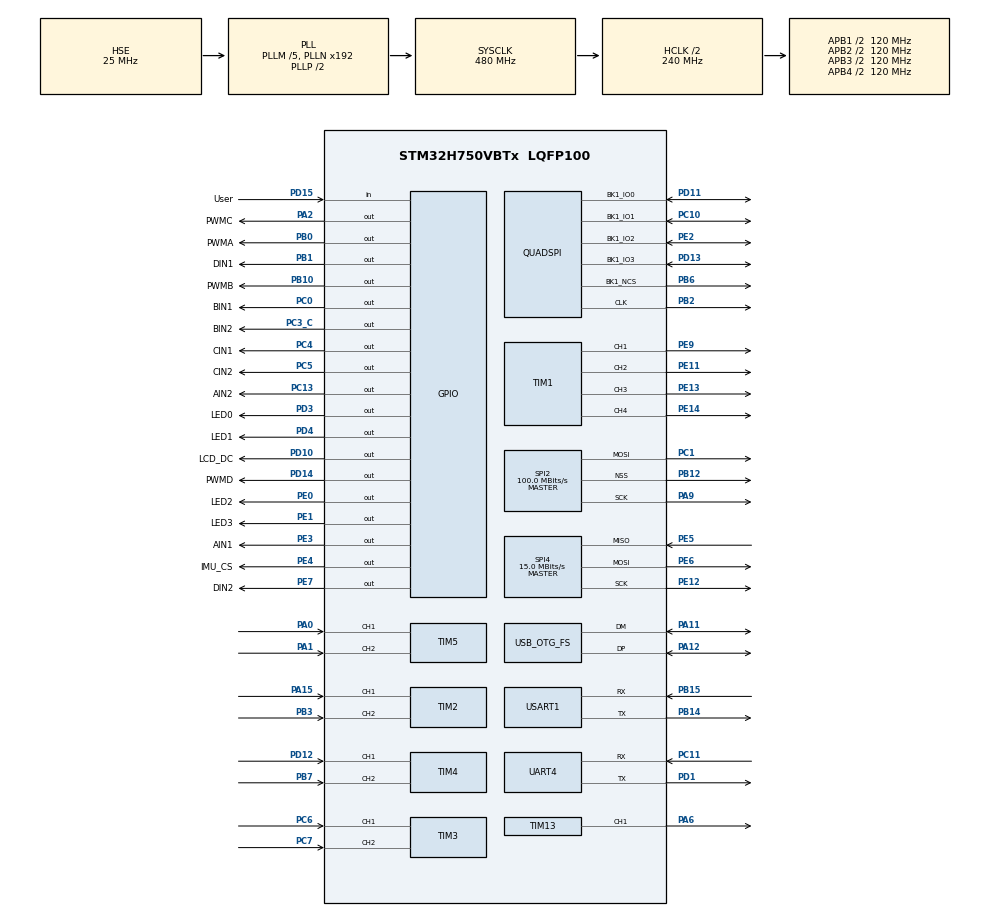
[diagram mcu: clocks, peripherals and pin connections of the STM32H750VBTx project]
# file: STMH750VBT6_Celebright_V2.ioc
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CORTEX_M7.default_mode_Activation=1
FREERTOS.BinarySemaphores01=semphr_buzzer_trigger,Dynamic,NULL,Available
FREERTOS.CountingSemaphores01=semphr_uart_receive,16,Dynamic,NULL,0
FREERTOS.INCLUDE_vTaskCleanUpResources=1
FREERTOS.Queues01=queue_key,1,char,0,Dynamic,NULL,NULL
FREERTOS.Tasks01=LEDBlink,32,128,Task_LEDBlink,Default,NULL,Static,LEDBlinkBuffer,LEDBlinkControlBlock;AppTaskCreate,25,128,Task_AppTaskCreate,Default,NULL,Static,AppTaskCreateBuffer,AppTaskCreateControlBlock;UartHandle,31,128,Task_UartHandle,Default,NULL,Static,UartHandleBuffer,UartHandleControlBlock;_9axisService,27,128,Task_9axisService,Default,NULL,Static,_9axisServiceBuffer,_9axisServiceControlBlock;CarAttitude,29,128,Task_CarAttitude,Default,NULL,Static,CarAttitudeBuffer,CarAttitudeControlBlock;Key,30,128,Task_Key,Default,NULL,Static,KeyBuffer,KeyControlBlock;Buzzer,25,128,Task_Buzzer,Default,NULL,Static,BuzzerBuffer,BuzzerControlBlock;Screen_LCD,25,128,Task_Screen,Default,NULL,Static,Screen_LCDBuffer,Screen_LCDControlBlock
FREERTOS.configMAX_TASK_NAME_LEN=32
FREERTOS.configQUEUE_REGISTRY_SIZE=10
FREERTOS.configTIMER_TASK_PRIORITY=55
FREERTOS.configTOTAL_HEAP_SIZE=81920
Mcu.Family=STM32H7
Mcu.Name=STM32H750VBTx
Mcu.Package=LQFP100
NVIC.PriorityGroup=NVIC_PRIORITYGROUP_4
NVIC.TIM6_DAC_IRQn=true\:5\:0\:false\:false\:true\:true\:true\:true\:true
PA0.Signal=S_TIM5_CH1
PA1.Signal=S_TIM5_CH2
PA11.Mode=Device_Only
PA11.Signal=USB_OTG_FS_DM
PA12.Mode=Device_Only
PA12.Signal=USB_OTG_FS_DP
PA13\ (JTMS/SWDIO).Mode=Serial_Wire
PA13\ (JTMS/SWDIO).Signal=DEBUG_JTMS-SWDIO
PA14\ (JTCK/SWCLK).Mode=Serial_Wire
PA14\ (JTCK/SWCLK).Signal=DEBUG_JTCK-SWCLK
PA15\ (JTDI).Signal=S_TIM2_CH1_ETR
PA2.GPIO_Label=PWMC
PA2.GPIO_Speed=GPIO_SPEED_FREQ_VERY_HIGH
PA2.Signal=GPIO_Output
PA6.Signal=S_TIM13_CH1
PA9.Mode=TX_Only_Simplex_Unidirect_Master
PA9.Signal=SPI2_SCK
PB0.GPIO_Label=PWMA
PB0.GPIO_Speed=GPIO_SPEED_FREQ_VERY_HIGH
PB0.Signal=GPIO_Output
PB1.GPIO_Label=DIN1
PB1.GPIO_Speed=GPIO_SPEED_FREQ_HIGH
PB1.Signal=GPIO_Output
PB10.GPIO_Label=PWMB
PB10.GPIO_Speed=GPIO_SPEED_FREQ_VERY_HIGH
PB10.Signal=GPIO_Output
PB12.Mode=NSS_Signal_Hard_Output
PB12.Signal=SPI2_NSS
PB14.Mode=Asynchronous
PB14.Signal=USART1_TX
PB15.Mode=Asynchronous
PB15.Signal=USART1_RX
PB2.Mode=Single Bank 1
PB2.Signal=QUADSPI_CLK
PB3\ (JTDO/TRACESWO).Signal=S_TIM2_CH2
PB6.Mode=Single Bank 1
PB6.Signal=QUADSPI_BK1_NCS
PB7.Signal=S_TIM4_CH2
PC0.GPIO_Label=BIN1
PC0.GPIO_Speed=GPIO_SPEED_FREQ_HIGH
PC0.Signal=GPIO_Output
PC1.Mode=TX_Only_Simplex_Unidirect_Master
PC1.Signal=SPI2_MOSI
PC10.Mode=Single Bank 1
PC10.Signal=QUADSPI_BK1_IO1
PC11.Mode=Asynchronous
PC11.Signal=UART4_RX
PC13.GPIO_Label=AIN2
PC13.Signal=GPIO_Output
PC14-OSC32_IN\ (OSC32_IN).Mode=LSE-External-Oscillator
PC14-OSC32_IN\ (OSC32_IN).Signal=RCC_OSC32_IN
PC15-OSC32_OUT\ (OSC32_OUT).Mode=LSE-External-Oscillator
PC15-OSC32_OUT\ (OSC32_OUT).Signal=RCC_OSC32_OUT
PC3_C.GPIO_Label=BIN2
PC3_C.GPIO_Speed=GPIO_SPEED_FREQ_HIGH
PC3_C.Signal=GPIO_Output
PC4.GPIO_Label=CIN1
PC4.GPIO_Speed=GPIO_SPEED_FREQ_HIGH
PC4.Signal=GPIO_Output
PC5.GPIO_Label=CIN2
PC5.GPIO_Speed=GPIO_SPEED_FREQ_HIGH
PC5.Signal=GPIO_Output
PC6.Signal=S_TIM3_CH1
PC7.Signal=S_TIM3_CH2
PD1.Mode=Asynchronous
PD1.Signal=UART4_TX
PD10.GPIO_Label=LCD_DC
PD10.GPIO_Speed=GPIO_SPEED_FREQ_HIGH
PD10.Signal=GPIO_Output
PD11.Mode=Single Bank 1
PD11.Signal=QUADSPI_BK1_IO0
PD12.Signal=S_TIM4_CH1
PD13.Mode=Single Bank 1
PD13.Signal=QUADSPI_BK1_IO3
PD14.GPIO_Label=PWMD
PD14.GPIO_Speed=GPIO_SPEED_FREQ_VERY_HIGH
PD14.Signal=GPIO_Output
PD15.GPIO_Label=User
PD15.GPIO_PuPd=GPIO_PULLUP
PD15.Signal=GPIO_Input
PD3.GPIO_Label=LED0
PD3.GPIO_Speed=GPIO_SPEED_FREQ_LOW
PD3.Signal=GPIO_Output
PD4.GPIO_Label=LED1
PD4.Signal=GPIO_Output
PE0.GPIO_Label=LED2
PE0.Signal=GPIO_Output
PE1.GPIO_Label=LED3
PE1.Signal=GPIO_Output
PE11.Signal=S_TIM1_CH2
PE12.Mode=Full_Duplex_Master
PE12.Signal=SPI4_SCK
PE13.Signal=S_TIM1_CH3
PE14.Signal=S_TIM1_CH4
PE2.Mode=Single Bank 1
PE2.Signal=QUADSPI_BK1_IO2
PE3.GPIO_Label=AIN1
PE3.GPIO_Speed=GPIO_SPEED_FREQ_HIGH
PE3.Signal=GPIO_Output
PE4.GPIO_Label=IMU_CS
PE4.GPIO_Speed=GPIO_SPEED_FREQ_VERY_HIGH
PE4.Signal=GPIO_Output
PE5.Mode=Full_Duplex_Master
PE5.Signal=SPI4_MISO
PE6.Mode=Full_Duplex_Master
PE6.Signal=SPI4_MOSI
PE7.GPIO_Label=DIN2
PE7.GPIO_Speed=GPIO_SPEED_FREQ_HIGH
PE7.Signal=GPIO_Output
PE9.Signal=S_TIM1_CH1
PH0-OSC_IN\ (PH0).Mode=HSE-External-Oscillator
PH0-OSC_IN\ (PH0).Signal=RCC_OSC_IN
PH1-OSC_OUT\ (PH1).Mode=HSE-External-Oscillator
PH1-OSC_OUT\ (PH1).Signal=RCC_OSC_OUT
ProjectManager.HeapSize=0x200
ProjectManager.StackSize=0x800
ProjectManager.TargetToolchain=MDK-ARM V5.32
RCC.ADCFreq_Value=200000000
RCC.APB1Freq_Value=120000000
RCC.APB2Freq_Value=120000000
RCC.APB3Freq_Value=120000000
RCC.APB4Freq_Value=120000000
RCC.CortexFreq_Value=480000000
RCC.D1PPRE=RCC_APB3_DIV2
RCC.D2PPRE1=RCC_APB1_DIV2
RCC.D2PPRE2=RCC_APB2_DIV2
RCC.D3PPRE=RCC_APB4_DIV2
RCC.DIVM1=5
RCC.DIVM2=5
RCC.DIVN1=192
RCC.DIVN2=80
RCC.DIVN3=80
RCC.EnbaleCSS=true
RCC.HCLKFreq_Value=240000000
RCC.HPRE=RCC_HCLK_DIV2
RCC.PLLSourceVirtual=RCC_PLLSOURCE_HSE
RCC.SPI123CLockSelection=RCC_SPI123CLKSOURCE_PLL2
RCC.SYSCLKFreq_VALUE=480000000
RCC.SYSCLKSource=RCC_SYSCLKSOURCE_PLLCLK
RCC.USBCLockSelection=RCC_USBCLKSOURCE_HSI48
RCC.USBFreq_Value=48000000
SH.S_TIM13_CH1.0=TIM13_CH1,PWM Generation1 CH1
SH.S_TIM1_CH1.0=TIM1_CH1,PWM Generation1 CH1
SH.S_TIM1_CH2.0=TIM1_CH2,PWM Generation2 CH2
SH.S_TIM1_CH3.0=TIM1_CH3,PWM Generation3 CH3
SH.S_TIM1_CH4.0=TIM1_CH4,PWM Generation4 CH4
SH.S_TIM2_CH1_ETR.0=TIM2_CH1,Encoder_Interface
SH.S_TIM2_CH2.0=TIM2_CH2,Encoder_Interface
SH.S_TIM3_CH1.0=TIM3_CH1,Encoder_Interface
SH.S_TIM3_CH2.0=TIM3_CH2,Encoder_Interface
SH.S_TIM4_CH1.0=TIM4_CH1,Encoder_Interface
SH.S_TIM4_CH2.0=TIM4_CH2,Encoder_Interface
SH.S_TIM5_CH1.0=TIM5_CH1,Encoder_Interface
SH.S_TIM5_CH2.0=TIM5_CH2,Encoder_Interface
SPI2.CalculateBaudRate=100.0 MBits/s
SPI2.Direction=SPI_DIRECTION_2LINES_TXONLY
SPI2.Mode=SPI_MODE_MASTER
SPI2.VirtualNSS=VM_NSSHARD
SPI2.VirtualType=VM_MASTER
SPI4.BaudRatePrescaler=SPI_BAUDRATEPRESCALER_8
SPI4.CLKPhase=SPI_PHASE_2EDGE
SPI4.CLKPolarity=SPI_POLARITY_HIGH
SPI4.CalculateBaudRate=15.0 MBits/s
SPI4.DataSize=SPI_DATASIZE_8BIT
SPI4.Direction=SPI_DIRECTION_2LINES
SPI4.Mode=SPI_MODE_MASTER
SPI4.VirtualType=VM_MASTER
TIM1.Channel-PWM\ Generation1\ CH1=TIM_CHANNEL_1
TIM1.Channel-PWM\ Generation2\ CH2=TIM_CHANNEL_2
TIM1.Channel-PWM\ Generation3\ CH3=TIM_CHANNEL_3
TIM1.Channel-PWM\ Generation4\ CH4=TIM_CHANNEL_4
TIM13.Channel=TIM_CHANNEL_1
TIM6.Period=9
TIM6.Prescaler=239
USART1.VirtualMode-Asynchronous=VM_ASYNC
USB_OTG_FS.VirtualMode=Device_Only
VP_FREERTOS_VS_CMSIS_V2.Mode=CMSIS_V2
VP_MEMORYMAP_VS_MEMORYMAP.Mode=CurAppReg
VP_TIM13_VS_ClockSourceINT.Mode=Enable_Timer
VP_TIM6_VS_ClockSourceINT.Mode=Enable_Timer
board=custom

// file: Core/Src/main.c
/* USER CODE BEGIN Header */
/**
  ******************************************************************************
  * @file           : main.c
  * @brief          : Main program body
  ******************************************************************************
  * @attention
  *
  * Copyright (c) 2025 STMicroelectronics.
  * All rights reserved.
  *
  * This software is licensed under terms that can be found in the LICENSE file
  * in the root directory of this software component.
  * If no LICENSE file comes with this software, it is provided AS-IS.
  *
  ******************************************************************************
  */
/* USER CODE END Header */
#include "main.h"
#include "cmsis_os.h"
#include "memorymap.h"
#include "quadspi.h"
#include "spi.h"
#include "tim.h"
#include "usart.h"
#include "usb_otg.h"
#include "gpio.h"

/* USER CODE BEGIN Includes */
#include "Motor.h"
#include "lcd_model.h"
#include "uart_fifo.h"
#include "delay.h"
#include "IMU.h"
#include "car_control.h"
#include "car_attitude.h"
/* USER CODE END Includes */

/* USER CODE BEGIN PD */
#define CPU_FREQ 480	//Unit:MHz;
#define To_cm 2.54/102
/* USER CODE END PD */

/* USER CODE BEGIN PV */
uint8_t cnt = 0;
uint32_t nowtime = 0;
float motion6[7];
float ypr[3];          // �ϴ�yaw pitch roll��ֵ
int math_pl=0;
/* USER CODE END PV */

void SystemClock_Config(void);
static void MPU_Config(void);
void MX_FREERTOS_Init(void);

int main(void)
{

  /* MPU Configuration--------------------------------------------------------*/
  MPU_Config();

  /* MCU Configuration--------------------------------------------------------*/

  /* Reset of all peripherals, Initializes the Flash interface and the Systick. */
  HAL_Init();

  /* USER CODE BEGIN Init */
	init_motor();
  /* USER CODE END Init */

  /* Configure the system clock */
  SystemClock_Config();

  /* Initialize all configured peripherals */
  MX_GPIO_Init();
  MX_TIM2_Init();
  MX_TIM3_Init();
  MX_TIM4_Init();
  MX_TIM5_Init();
  MX_TIM6_Init();
  MX_TIM1_Init();
  MX_USB_OTG_FS_PCD_Init();
  MX_QUADSPI_Init();
  MX_SPI4_Init();
  MX_TIM13_Init();
  MX_UART4_Init();
  MX_USART1_UART_Init();
  MX_SPI2_Init();
  /* USER CODE BEGIN 2 */
	delay_init(CPU_FREQ);		//³õʼ»¯ѓʱº¯ʽ£¬Parameter: CPU
  IMU_init();
	HAL_Delay(1000);
  HAL_TIM_Encoder_Start(&htim2, TIM_CHANNEL_ALL); //����������ģʽ
  HAL_TIM_Encoder_Start(&htim3, TIM_CHANNEL_ALL); //����������ģʽ
  HAL_TIM_Encoder_Start(&htim4, TIM_CHANNEL_ALL); //����������ģʽ
  HAL_TIM_Encoder_Start(&htim5, TIM_CHANNEL_ALL); //����������ģʽ

  HAL_TIM_Base_Start_IT(&htim2);                  //�������������ж�
  HAL_TIM_Base_Start_IT(&htim3);                  //�������������ж�
  HAL_TIM_Base_Start_IT(&htim4);                  //�������������ж�
  HAL_TIM_Base_Start_IT(&htim5);                  //�������������ж�
	HAL_TIM_Base_Start_IT(&htim6);

	//SPI_LCD_Init();
	init_Car_Attitude();
	init_Car_Contorl();
	HAL_Delay(2000);
  //Set_Car_Control(500.0, 0.0, 0.0);
	//printf("init ok");
  /* USER CODE END 2 */

  /* Init scheduler */
  osKernelInitialize();

  /* Call init function for freertos objects (in cmsis_os2.c) */
  MX_FREERTOS_Init();

  /* Start scheduler */
  osKernelStart();

  /* We should never get here as control is now taken by the scheduler */

  /* Infinite loop */
  while (1)
  {

  }
}

void SystemClock_Config(void)
{
  RCC_OscInitTypeDef RCC_OscInitStruct = {0};
  RCC_ClkInitTypeDef RCC_ClkInitStruct = {0};

  /** Supply configuration update enable
  */
  HAL_PWREx_ConfigSupply(PWR_LDO_SUPPLY);

  /** Configure the main internal regulator output voltage
  */
  __HAL_PWR_VOLTAGESCALING_CONFIG(PWR_REGULATOR_VOLTAGE_SCALE0);

  while(!__HAL_PWR_GET_FLAG(PWR_FLAG_VOSRDY)) {}

  /** Initializes the RCC Oscillators according to the specified parameters
  * in the RCC_OscInitTypeDef structure.
  */
  RCC_OscInitStruct.OscillatorType = RCC_OSCILLATORTYPE_HSI48|RCC_OSCILLATORTYPE_HSE;
  RCC_OscInitStruct.HSEState = RCC_HSE_ON;
  RCC_OscInitStruct.HSI48State = RCC_HSI48_ON;
  RCC_OscInitStruct.PLL.PLLState = RCC_PLL_ON;
  RCC_OscInitStruct.PLL.PLLSource = RCC_PLLSOURCE_HSE;
  RCC_OscInitStruct.PLL.PLLM = 5;
  RCC_OscInitStruct.PLL.PLLN = 192;
  RCC_OscInitStruct.PLL.PLLP = 2;
  RCC_OscInitStruct.PLL.PLLQ = 2;
  RCC_OscInitStruct.PLL.PLLR = 2;
  RCC_OscInitStruct.PLL.PLLRGE = RCC_PLL1VCIRANGE_2;
  RCC_OscInitStruct.PLL.PLLVCOSEL = RCC_PLL1VCOWIDE;
  RCC_OscInitStruct.PLL.PLLFRACN = 0;
  if (HAL_RCC_OscConfig(&RCC_OscInitStruct) != HAL_OK)
  {
    Error_Handler();
  }

  /** Initializes the CPU, AHB and APB buses clocks
  */
  RCC_ClkInitStruct.ClockType = RCC_CLOCKTYPE_HCLK|RCC_CLOCKTYPE_SYSCLK
                              |RCC_CLOCKTYPE_PCLK1|RCC_CLOCKTYPE_PCLK2
                              |RCC_CLOCKTYPE_D3PCLK1|RCC_CLOCKTYPE_D1PCLK1;
  RCC_ClkInitStruct.SYSCLKSource = RCC_SYSCLKSOURCE_PLLCLK;
  RCC_ClkInitStruct.SYSCLKDivider = RCC_SYSCLK_DIV1;
  RCC_ClkInitStruct.AHBCLKDivider = RCC_HCLK_DIV2;
  RCC_ClkInitStruct.APB3CLKDivider = RCC_APB3_DIV2;
  RCC_ClkInitStruct.APB1CLKDivider = RCC_APB1_DIV2;
  RCC_ClkInitStruct.APB2CLKDivider = RCC_APB2_DIV2;
  RCC_ClkInitStruct.APB4CLKDivider = RCC_APB4_DIV2;

  if (HAL_RCC_ClockConfig(&RCC_ClkInitStruct, FLASH_LATENCY_4) != HAL_OK)
  {
    Error_Handler();
  }

  /** Enables the Clock Security System
  */
  HAL_RCC_EnableCSS();
}

 /* MPU Configuration */

void MPU_Config(void)
{
  MPU_Region_InitTypeDef MPU_InitStruct = {0};

  /* Disables the MPU */
  HAL_MPU_Disable();

  /** Initializes and configures the Region and the memory to be protected
  */
  MPU_InitStruct.Enable = MPU_REGION_ENABLE;
  MPU_InitStruct.Number = MPU_REGION_NUMBER0;
  MPU_InitStruct.BaseAddress = 0x0;
  MPU_InitStruct.Size = MPU_REGION_SIZE_4GB;
  MPU_InitStruct.SubRegionDisable = 0x87;
  MPU_InitStruct.TypeExtField = MPU_TEX_LEVEL0;
  MPU_InitStruct.AccessPermission = MPU_REGION_NO_ACCESS;
  MPU_InitStruct.DisableExec = MPU_INSTRUCTION_ACCESS_DISABLE;
  MPU_InitStruct.IsShareable = MPU_ACCESS_SHAREABLE;
  MPU_InitStruct.IsCacheable = MPU_ACCESS_NOT_CACHEABLE;
  MPU_InitStruct.IsBufferable = MPU_ACCESS_NOT_BUFFERABLE;

  HAL_MPU_ConfigRegion(&MPU_InitStruct);
  /* Enables the MPU */
  HAL_MPU_Enable(MPU_PRIVILEGED_DEFAULT);

}

void Error_Handler(void)
{
  __disable_irq();
  while (1)
  {
  }
}

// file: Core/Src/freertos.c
/* USER CODE BEGIN Header */
/**
  ******************************************************************************
  * File Name          : freertos.c
  * Description        : Code for freertos applications
  ******************************************************************************
  * @attention
  *
  * Copyright (c) 2025 STMicroelectronics.
  * All rights reserved.
  *
  * This software is licensed under terms that can be found in the LICENSE file
  * in the root directory of this software component.
  * If no LICENSE file comes with this software, it is provided AS-IS.
  *
  ******************************************************************************
  */
/* USER CODE END Header */

#include "FreeRTOS.h"
#include "task.h"
#include "main.h"
#include "cmsis_os.h"

/* USER CODE BEGIN Includes */
#include "IMU.h"
#include "motor.h"
#include "tim.h"
#include "spi.h"
#include "keyboard.h"
#include "config.h"
#include "car_attitude.h"
#include "car_control.h"
#include "uart_fifo.h"

/* USER CODE END Includes */

typedef StaticTask_t osStaticThreadDef_t;

/* USER CODE BEGIN Variables */
_Bool Is_Speed_Enc_Update=0;
extern float motion6[7];
extern float ypr[3];          // yaw pitch roll
extern int math_pl;
/* USER CODE END Variables */
/* Definitions for LEDBlink */
osThreadId_t LEDBlinkHandle;
uint32_t LEDBlinkBuffer[ 128 ];
osStaticThreadDef_t LEDBlinkControlBlock;
const osThreadAttr_t LEDBlink_attributes = {
  .name = "LEDBlink",
  .cb_mem = &LEDBlinkControlBlock,
  .cb_size = sizeof(LEDBlinkControlBlock),
  .stack_mem = &LEDBlinkBuffer[0],
  .stack_size = sizeof(LEDBlinkBuffer),
  .priority = (osPriority_t) osPriorityAboveNormal,
};
/* Definitions for AppTaskCreate */
osThreadId_t AppTaskCreateHandle;
uint32_t AppTaskCreateBuffer[ 128 ];
osStaticThreadDef_t AppTaskCreateControlBlock;
const osThreadAttr_t AppTaskCreate_attributes = {
  .name = "AppTaskCreate",
  .cb_mem = &AppTaskCreateControlBlock,
  .cb_size = sizeof(AppTaskCreateControlBlock),
  .stack_mem = &AppTaskCreateBuffer[0],
  .stack_size = sizeof(AppTaskCreateBuffer),
  .priority = (osPriority_t) osPriorityNormal1,
};
/* Definitions for UartHandle */
osThreadId_t UartHandleHandle;
uint32_t UartHandleBuffer[ 128 ];
osStaticThreadDef_t UartHandleControlBlock;
const osThreadAttr_t UartHandle_attributes = {
  .name = "UartHandle",
  .cb_mem = &UartHandleControlBlock,
  .cb_size = sizeof(UartHandleControlBlock),
  .stack_mem = &UartHandleBuffer[0],
  .stack_size = sizeof(UartHandleBuffer),
  .priority = (osPriority_t) osPriorityNormal7,
};
/* Definitions for _9axisService */
osThreadId_t _9axisServiceHandle;
uint32_t _9axisServiceBuffer[ 128 ];
osStaticThreadDef_t _9axisServiceControlBlock;
const osThreadAttr_t _9axisService_attributes = {
  .name = "_9axisService",
  .cb_mem = &_9axisServiceControlBlock,
  .cb_size = sizeof(_9axisServiceControlBlock),
  .stack_mem = &_9axisServiceBuffer[0],
  .stack_size = sizeof(_9axisServiceBuffer),
  .priority = (osPriority_t) osPriorityNormal3,
};
/* Definitions for CarAttitude */
osThreadId_t CarAttitudeHandle;
uint32_t CarAttitudeBuffer[ 128 ];
osStaticThreadDef_t CarAttitudeControlBlock;
const osThreadAttr_t CarAttitude_attributes = {
  .name = "CarAttitude",
  .cb_mem = &CarAttitudeControlBlock,
  .cb_size = sizeof(CarAttitudeControlBlock),
  .stack_mem = &CarAttitudeBuffer[0],
  .stack_size = sizeof(CarAttitudeBuffer),
  .priority = (osPriority_t) osPriorityNormal5,
};
/* Definitions for Key */
osThreadId_t KeyHandle;
uint32_t KeyBuffer[ 128 ];
osStaticThreadDef_t KeyControlBlock;
const osThreadAttr_t Key_attributes = {
  .name = "Key",
  .cb_mem = &KeyControlBlock,
  .cb_size = sizeof(KeyControlBlock),
  .stack_mem = &KeyBuffer[0],
  .stack_size = sizeof(KeyBuffer),
  .priority = (osPriority_t) osPriorityNormal6,
};
/* Definitions for Buzzer */
osThreadId_t BuzzerHandle;
uint32_t BuzzerBuffer[ 128 ];
osStaticThreadDef_t BuzzerControlBlock;
const osThreadAttr_t Buzzer_attributes = {
  .name = "Buzzer",
  .cb_mem = &BuzzerControlBlock,
  .cb_size = sizeof(BuzzerControlBlock),
  .stack_mem = &BuzzerBuffer[0],
  .stack_size = sizeof(BuzzerBuffer),
  .priority = (osPriority_t) osPriorityNormal1,
};
/* Definitions for Screen_LCD */
osThreadId_t Screen_LCDHandle;
uint32_t Screen_LCDBuffer[ 128 ];
osStaticThreadDef_t Screen_LCDControlBlock;
const osThreadAttr_t Screen_LCD_attributes = {
  .name = "Screen_LCD",
  .cb_mem = &Screen_LCDControlBlock,
  .cb_size = sizeof(Screen_LCDControlBlock),
  .stack_mem = &Screen_LCDBuffer[0],
  .stack_size = sizeof(Screen_LCDBuffer),
  .priority = (osPriority_t) osPriorityNormal1,
};
/* Definitions for queue_key */
osMessageQueueId_t queue_keyHandle;
const osMessageQueueAttr_t queue_key_attributes = {
  .name = "queue_key"
};
/* Definitions for semphr_buzzer_trigger */
osSemaphoreId_t semphr_buzzer_triggerHandle;
const osSemaphoreAttr_t semphr_buzzer_trigger_attributes = {
  .name = "semphr_buzzer_trigger"
};
/* Definitions for semphr_uart_receive */
osSemaphoreId_t semphr_uart_receiveHandle;
const osSemaphoreAttr_t semphr_uart_receive_attributes = {
  .name = "semphr_uart_receive"
};

/* USER CODE BEGIN FunctionPrototypes */
void Task_APP();
void Task_exam_24H(void *argument);
void Task_AtoB(void *argument);
void Task_ABCD(void *argument);
void Task_Round(void *argument);
void Task_Round_4(void *argument);
/* USER CODE END FunctionPrototypes */

void Task_LEDBlink(void *argument);
void Task_AppTaskCreate(void *argument);
void Task_UartHandle(void *argument);
void Task_9axisService(void *argument);
void Task_CarAttitude(void *argument);
void Task_Key(void *argument);
void Task_Buzzer(void *argument);
void Task_Screen(void *argument);

void MX_FREERTOS_Init(void); /* (MISRA C 2004 rule 8.1) */

void MX_FREERTOS_Init(void) {

  /* Create the semaphores(s) */
  /* creation of semphr_buzzer_trigger */
  semphr_buzzer_triggerHandle = osSemaphoreNew(1, 1, &semphr_buzzer_trigger_attributes);

  /* creation of semphr_uart_receive */
  semphr_uart_receiveHandle = osSemaphoreNew(16, 0, &semphr_uart_receive_attributes);

  /* Create the queue(s) */
  /* creation of queue_key */
  queue_keyHandle = osMessageQueueNew (1, sizeof(char), &queue_key_attributes);

  /* Create the thread(s) */
  /* creation of LEDBlink */
  LEDBlinkHandle = osThreadNew(Task_LEDBlink, NULL, &LEDBlink_attributes);

  /* creation of AppTaskCreate */
  AppTaskCreateHandle = osThreadNew(Task_AppTaskCreate, NULL, &AppTaskCreate_attributes);

  /* creation of UartHandle */
  UartHandleHandle = osThreadNew(Task_UartHandle, NULL, &UartHandle_attributes);

  /* creation of _9axisService */
  _9axisServiceHandle = osThreadNew(Task_9axisService, NULL, &_9axisService_attributes);

  /* creation of CarAttitude */
  CarAttitudeHandle = osThreadNew(Task_CarAttitude, NULL, &CarAttitude_attributes);

  /* creation of Key */
  KeyHandle = osThreadNew(Task_Key, NULL, &Key_attributes);

  /* creation of Buzzer */
  BuzzerHandle = osThreadNew(Task_Buzzer, NULL, &Buzzer_attributes);

  /* creation of Screen_LCD */
  Screen_LCDHandle = osThreadNew(Task_Screen, NULL, &Screen_LCD_attributes);

  /* USER CODE BEGIN RTOS_THREADS */
	//Key_StartScanTask();
	xTaskCreate(Task_APP,"Test",512,NULL,(osPriority_t) osPriorityNormal5,NULL);
	//xTaskCreate(Task_exam_24H,"24_H",512,NULL,(osPriority_t) osPriorityNormal5,NULL);
  /* add threads, ... */
  /* USER CODE END RTOS_THREADS */

}

void Task_LEDBlink(void *argument)
{
  /* USER CODE BEGIN Task_LEDBlink */
  /* Infinite loop */
  for(;;)
  {
		HAL_GPIO_TogglePin(LED2_GPIO_Port, LED2_Pin);
    osDelay(1000);
  }
  /* USER CODE END Task_LEDBlink */
}

void Task_AppTaskCreate(void *argument)
{
  for(;;)
  {
    osDelay(1);
  }
}

void Task_UartHandle(void *argument)
{
  for(;;)
  {
    osDelay(1);
  }
}

void Task_9axisService(void *argument)
{
  /* USER CODE BEGIN Task_9axisService */
	TickType_t xLastWakeTime;
	const TickType_t xFrequency = TASK_ITV_IMU;
	xLastWakeTime = xTaskGetTickCount();
  /* Infinite loop */
  for(;;)
  {
		vTaskDelayUntil( &xLastWakeTime, xFrequency );
	  uint8_t data[8] = {1,2,3,4,5,6,7,8};
	  IMU_getYawPitchRoll(ypr);
		IMU_TT_getgyro(motion6);
		//printf("acc(mg):%.2f\t%.2f\t%.2f\tgyro(dps):%.2f\t%.2f\t%.2f\n", motion6[0], motion6[1], motion6[2], motion6[3], motion6[4], motion6[5]);
		math_pl++;
		Car_Attitude_Yaw_Update(car_attitude.current_v_angle,TASK_ITV_IMU*0.001);
  }
  /* USER CODE END Task_9axisService */
}

void Task_CarAttitude(void *argument)
{
  /* USER CODE BEGIN Task_CarAttitude */
	TickType_t xLastWakeTime;
	const TickType_t xFrequency = TASK_ITV_CAR;
	xLastWakeTime = xTaskGetTickCount();
  /* Infinite loop */
  for(;;)
  {
		vTaskDelayUntil( &xLastWakeTime, xFrequency );
		Tim_Update_Enc_Speed();//
    Is_Speed_Enc_Update=1;//
 	  Motor_Update_Input_All();
		Car_Attitude_Update_Input();
		Car_Control_Update_Input();
		Car_Control_Update_Output();
		Car_Attitude_Update_Output();
 		Motor_Update_Output_All();
  }
  /* USER CODE END Task_CarAttitude */
}

void Task_Key(void *argument)
{
  /* USER CODE BEGIN Task_Key */
	char key;
  /* Infinite loop */
  for(;;)
  {
		if(xQueueReceive(queue_keyHandle, &key, portMAX_DELAY)) {
            //
            //printf("Pressed: %c\n", key);
				//LCD_DisplayChar(10,200,key);
			  if(key == '1')
				{
					key_callback1();
				}
        }
    osDelay(1);
  }
  /* USER CODE END Task_Key */
}

void Task_Buzzer(void *argument)
{
  for(;;)
  {
    osDelay(1);
  }
}

void Task_Screen(void *argument)
{
  /* USER CODE BEGIN Task_Screen */
  /* Infinite loop */
  for(;;)
  {
	/*	if (Is_Speed_Enc_Update==1)
		 {
		  LCD_DisplayNumber(10, 10, motor_LeftFront.EncSource, 3);
		  LCD_DisplayNumber(10, 40, motor_LeftFront.duty, 3);//PWM
		  LCD_DisplayNumber(10, 60, motor_LeftFront.v_real, 3); //mm/s
			  //
		  LCD_DisplayNumber(10, 80, motor_LeftRear.EncSource, 3);
		  LCD_DisplayNumber(10, 100, motor_LeftRear.duty, 3);
		  LCD_DisplayNumber(10, 120, motor_LeftRear.v_real, 3);
        //��ǰ��
		  LCD_DisplayNumber(100, 10, motor_RightFront.EncSource, 3);
		  LCD_DisplayNumber(100, 40, motor_RightFront.duty, 3);
		  LCD_DisplayNumber(100, 60, motor_RightFront.v_real, 3);

		  LCD_DisplayNumber(100, 80, motor_RightRear.EncSource, 3);
		  LCD_DisplayNumber(100, 100, motor_RightRear.duty, 3);
		  LCD_DisplayNumber(100, 120, motor_RightRear.v_real, 3);

		  Is_Speed_Enc_Update= 0;  //
        }
		*/
    osDelay(100);
  }
  /* USER CODE END Task_Screen */
}

/* USER CODE BEGIN Application */
uint8_t Submission;
#define MODE_DEFAULT 0
#define MODE_NUMBER 1
#define MODE_TRAFFIC 2
void Get_Data_in_Task(uint8_t* received_datap,uint8_t* detected_numberp,uint8_t* traffic_lightp)
{
    Submission=1;
    if(uart_received_frame_length > 0) {
        *received_datap = 0;
        for(int i = 0; i < 8; i++) {
            *received_datap |= (uart_received_frame[i+8] & 0x01) << i;
        }

        if(Submission == MODE_NUMBER) {
            *detected_numberp = (*received_datap & 0x07) + 1;
            LCD_DisplayNumber(150,50,*detected_numberp,2);
        }
        else if(Submission == MODE_TRAFFIC) {
            *traffic_lightp = (*received_datap >> 3) & 0x03;
            LCD_DisplayNumber(150,70,*traffic_lightp,2);
        }
    }
}
void Task_APP()
{
	/* USER CODE BEGIN Task_Submission */
	uint8_t received_data = 0;
	uint8_t detected_number = 0;
	uint8_t traffic_light = 0;
;
    osDelay(1000);
	{
        go_line(20*(15));
        while(!car_control.oprate_done)osDelay(10);

	}
	/* USER CODE END Task_Submission */
	go_line(0);
//	HAL_GPIO_WritePin(GPIOJ, GPIO_PIN_3, GPIO_PIN_RESET);
//	LCD_DisplayNumber(150, 150, 9999, 4);
	vTaskDelete(NULL);
}
